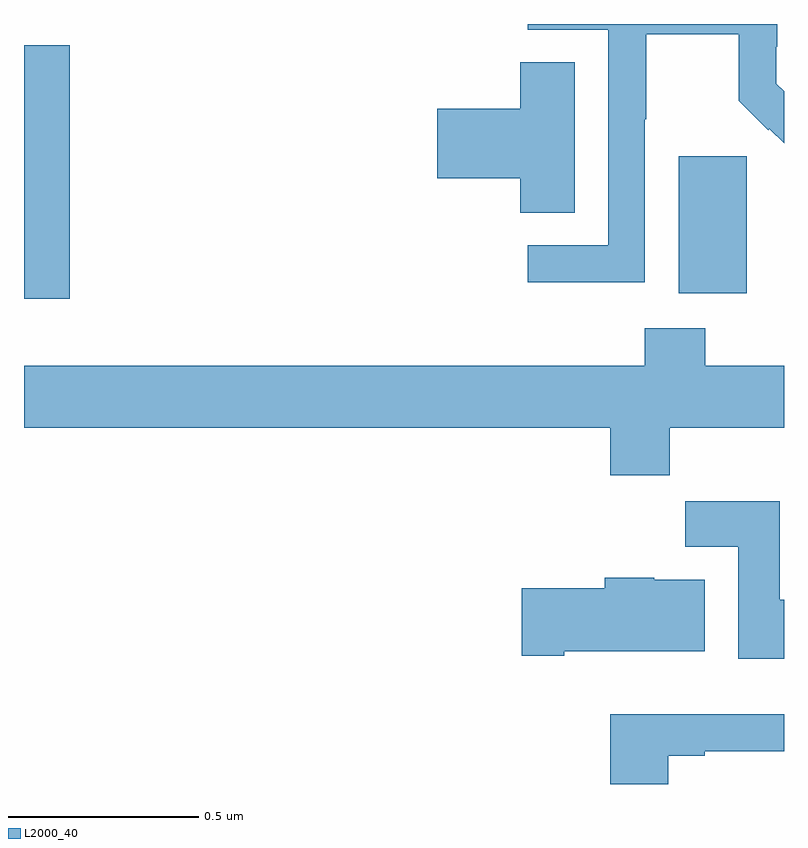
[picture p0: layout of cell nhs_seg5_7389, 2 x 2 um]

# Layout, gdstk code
import gdstk
lib = gdstk.Library(unit=1e-6, precision=1e-09)
def R(c, l, rs):  # rectangles x0, y0, x1, y1
    for r in rs: c.add(gdstk.rectangle(r[:2], r[2:], *l))
def P(c, l, *ps):  # polygons
    for p in ps: c.add(gdstk.Polygon(p, *l))
L2000_40 = (2000, 40)

nhs_seg5_7389 = lib.new_cell('nhs_seg5_7389')
R(nhs_seg5_7389, L2000_40, [(208,881.076,208.121,881.743), (209.723,881.09,209.902,881.451)])
P(nhs_seg5_7389, L2000_40, [(209.634,881.548),(209.637,881.548),(209.637,881.772),(209.881,881.772),(209.881,881.597),(209.958,881.52),(209.961,881.523),(210,881.485),(210,881.622),(209.98,881.642),(209.98,881.739),(209.982,881.739),(209.982,881.799),(209.325,881.799),(209.325,881.784),(209.538,881.784),(209.538,881.217),(209.325,881.217),(209.325,881.119),(209.634,881.119)],
  [(209.449,881.699),(209.306,881.699),(209.306,881.576),(209.088,881.576),(209.088,881.393),(209.306,881.393),(209.306,881.302),(209.449,881.302)],
  [(209.699,880.736),(210,880.736),(210,880.9),(209.793,880.9),(209.793,880.999),(209.633,880.999),(209.633,880.9),(208,880.9),(208,880.736),(209.543,880.736),(209.543,880.612),(209.699,880.612)],
  [(210,880.284),(209.989,880.284),(209.989,880.543),(209.74,880.543),(209.74,880.424),(209.879,880.424),(209.879,880.128),(210,880.128)],
  [(209.422,880.148),(209.791,880.148),(209.791,880.336),(209.658,880.336),(209.658,880.342),(209.528,880.342),(209.528,880.314),(209.31,880.314),(209.31,880.136),(209.422,880.136)],
  [(209.695,879.873),(209.791,879.873),(209.791,879.885),(210,879.885),(210,879.982),(209.543,879.982),(209.543,879.799),(209.695,879.799)])

lib.write_gds('nhs_seg5_7389.gds')
